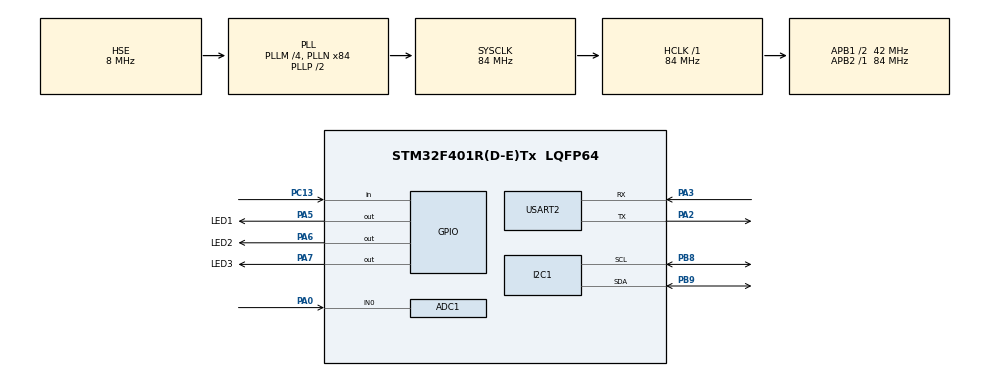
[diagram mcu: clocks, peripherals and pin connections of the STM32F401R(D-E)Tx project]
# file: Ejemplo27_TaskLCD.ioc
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ADC1.Channel-0\#ChannelRegularConversion=ADC_CHANNEL_0
ADC1.NbrOfConversionFlag=1
ADC1.Rank-0\#ChannelRegularConversion=1
ADC1.SamplingTime-0\#ChannelRegularConversion=ADC_SAMPLETIME_3CYCLES
ADC1.master=1
Mcu.Family=STM32F4
Mcu.Name=STM32F401R(D-E)Tx
Mcu.Package=LQFP64
NVIC.PriorityGroup=NVIC_PRIORITYGROUP_4
NVIC.TIM1_TRG_COM_TIM11_IRQn=true\:15\:0\:false\:false\:true\:false\:true\:true
NVIC.TimeBase=TIM1_TRG_COM_TIM11_IRQn
NVIC.TimeBaseIP=TIM11
NVIC.USART2_IRQn=true\:0\:0\:false\:false\:true\:true\:true\:true
PA0-WKUP.Signal=ADCx_IN0
PA2.Mode=Asynchronous
PA2.Signal=USART2_TX
PA3.Mode=Asynchronous
PA3.Signal=USART2_RX
PA5.GPIO_Label=LED1
PA5.Signal=GPIO_Output
PA6.GPIO_Label=LED2
PA6.Signal=GPIO_Output
PA7.GPIO_Label=LED3
PA7.Signal=GPIO_Output
PB8.Mode=I2C
PB8.Signal=I2C1_SCL
PB9.Mode=I2C
PB9.Signal=I2C1_SDA
PC13-ANTI_TAMP.Signal=GPIO_Input
PH0\ -\ OSC_IN.Mode=HSE-External-Clock-Source
PH0\ -\ OSC_IN.Signal=RCC_OSC_IN
PH1\ -\ OSC_OUT.Mode=HSE-External-Clock-Source
PH1\ -\ OSC_OUT.Signal=RCC_OSC_OUT
ProjectManager.HeapSize=0x200
ProjectManager.StackSize=0x400
ProjectManager.TargetToolchain=STM32CubeIDE
RCC.48MHZClocksFreq_Value=42000000
RCC.AHBFreq_Value=84000000
RCC.APB1CLKDivider=RCC_HCLK_DIV2
RCC.APB1Freq_Value=42000000
RCC.APB1TimFreq_Value=84000000
RCC.APB2Freq_Value=84000000
RCC.APB2TimFreq_Value=84000000
RCC.CortexFreq_Value=84000000
RCC.HCLKFreq_Value=84000000
RCC.HSE_VALUE=8000000
RCC.HSI_VALUE=16000000
RCC.LSE_VALUE=32768
RCC.PLLM=4
RCC.PLLN=84
RCC.PLLSourceVirtual=RCC_PLLSOURCE_HSE
RCC.SYSCLKFreq_VALUE=84000000
RCC.SYSCLKSource=RCC_SYSCLKSOURCE_PLLCLK
RCC.VCOOutputFreq_Value=168000000
SH.ADCx_IN0.0=ADC1_IN0,IN0
USART2.VirtualMode=VM_ASYNC
VP_SYS_VS_tim11.Mode=TIM11
board=custom

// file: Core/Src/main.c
/* USER CODE BEGIN Header */
/**
  ******************************************************************************
  * @file           : main.c
  * @brief          : Main program body
  ******************************************************************************
  * @attention
  *
  * Copyright (c) 2022 STMicroelectronics.
  * All rights reserved.
  *
  * This software is licensed under terms that can be found in the LICENSE file
  * in the root directory of this software component.
  * If no LICENSE file comes with this software, it is provided AS-IS.
  *
  ******************************************************************************
  */
/* USER CODE END Header */
#include "main.h"
#include "adc.h"
#include "i2c.h"
#include "usart.h"
#include "gpio.h"

/* USER CODE BEGIN Includes */
#include "FreeRTOS.h"
#include "task.h"

#include "LCD.h"

#include <stdio.h>
#include <stdarg.h>
#include <string.h>
#include "stdbool.h"
/* USER CODE END Includes */

/* USER CODE BEGIN PTD */
TaskHandle_t LCD;
TaskHandle_t ADC_READ;
void vTask_LCD(void *params);
void vTask_ADC_READ(void *params);
/* USER CODE END PTD */

/* USER CODE BEGIN PM */
/**
 * 0 : no se desea usar segger system view
 * 1 : se usa para la depuracion
 */
#define SYSTEM_VIEW				1
/* USER CODE END PM */

void SystemClock_Config(void);
/* USER CODE BEGIN PFP */

void UART_Printf(char *format,...);
/* USER CODE END PFP */

/* USER CODE BEGIN 0 */
uint16_t value = 0;
uint8_t str_value[50];
bool flag = false;
/* USER CODE END 0 */

int main(void)
{
  /* USER CODE BEGIN 1 */
	BaseType_t status;
  /* USER CODE END 1 */

  /* MCU Configuration--------------------------------------------------------*/

  /* Reset of all peripherals, Initializes the Flash interface and the Systick. */
  HAL_Init();

  /* Configure the system clock */
  SystemClock_Config();

  /* Initialize all configured peripherals */
  MX_GPIO_Init();
  MX_USART2_UART_Init();
  MX_ADC1_Init();
  MX_I2C1_Init();
  /* USER CODE BEGIN 2 */
#if SYSTEM_VIEW
  DWT->CTRL |= 1;
  SEGGER_SYSVIEW_Conf();
  /*solo se va usar cuando se trabaje en modo one shot*/
//  SEGGER_SYSVIEW_Start();

#endif

status = xTaskCreate(vTask_LCD,
						"lcd",
						configMINIMAL_STACK_SIZE,
						NULL,
						1,
						&LCD);

configASSERT(status == pdPASS);

status = xTaskCreate(vTask_ADC_READ,
						"adc_Read",
						configMINIMAL_STACK_SIZE,
						NULL,
						1,
						&ADC_READ);

configASSERT(status == pdPASS);

  /* inicializa el kernel*/
  vTaskStartScheduler();
  /* USER CODE END 2 */

  /* Infinite loop */
  while (1)
  {

  }
}

void SystemClock_Config(void)
{
  RCC_OscInitTypeDef RCC_OscInitStruct = {0};
  RCC_ClkInitTypeDef RCC_ClkInitStruct = {0};

  /** Configure the main internal regulator output voltage
  */
  __HAL_RCC_PWR_CLK_ENABLE();
  __HAL_PWR_VOLTAGESCALING_CONFIG(PWR_REGULATOR_VOLTAGE_SCALE2);

  /** Initializes the RCC Oscillators according to the specified parameters
  * in the RCC_OscInitTypeDef structure.
  */
  RCC_OscInitStruct.OscillatorType = RCC_OSCILLATORTYPE_HSE;
  RCC_OscInitStruct.HSEState = RCC_HSE_BYPASS;
  RCC_OscInitStruct.PLL.PLLState = RCC_PLL_ON;
  RCC_OscInitStruct.PLL.PLLSource = RCC_PLLSOURCE_HSE;
  RCC_OscInitStruct.PLL.PLLM = 4;
  RCC_OscInitStruct.PLL.PLLN = 84;
  RCC_OscInitStruct.PLL.PLLP = RCC_PLLP_DIV2;
  RCC_OscInitStruct.PLL.PLLQ = 4;
  if (HAL_RCC_OscConfig(&RCC_OscInitStruct) != HAL_OK)
  {
    Error_Handler();
  }

  /** Initializes the CPU, AHB and APB buses clocks
  */
  RCC_ClkInitStruct.ClockType = RCC_CLOCKTYPE_HCLK|RCC_CLOCKTYPE_SYSCLK
                              |RCC_CLOCKTYPE_PCLK1|RCC_CLOCKTYPE_PCLK2;
  RCC_ClkInitStruct.SYSCLKSource = RCC_SYSCLKSOURCE_PLLCLK;
  RCC_ClkInitStruct.AHBCLKDivider = RCC_SYSCLK_DIV1;
  RCC_ClkInitStruct.APB1CLKDivider = RCC_HCLK_DIV2;
  RCC_ClkInitStruct.APB2CLKDivider = RCC_HCLK_DIV1;

  if (HAL_RCC_ClockConfig(&RCC_ClkInitStruct, FLASH_LATENCY_2) != HAL_OK)
  {
    Error_Handler();
  }
}

/* USER CODE BEGIN 4 */

void vTask_LCD(void *params){

	LCD_STM32_INIT();
	LCD_STM32_SET_CURSOR(0, 0);
	LCD_STM32_PRINT_STRING("FreeRTOS LCD");
	for(;;){

		if (flag == true ) {
			sprintf(str_value,"ADC->%04u",value);
			LCD_STM32_SET_CURSOR(0, 1);
			LCD_STM32_PRINT_STRING(str_value);
			flag = false;
			vTaskDelay(pdMS_TO_TICKS(200));
			SEGGER_SYSVIEW_PrintfHost("Ejecucion lcd");
		}

	}

	vTaskDelete(NULL);
}

void vTask_ADC_READ(void *params){

	for(;;){
		HAL_ADC_Start(&hadc1);
		//HAL_ADC_PollForConversion(hadc, Timeout)
		vTaskDelay(pdMS_TO_TICKS(1));
		value = HAL_ADC_GetValue(&hadc1);
		//HAL_ADC_Stop(&hadc1);
		flag = true;
		vTaskDelay(pdMS_TO_TICKS(200));
		SEGGER_SYSVIEW_PrintfHost("Ejecucion ADC");
	}

	vTaskDelete(NULL);

}

BaseType_t cuenta;
void vApplicationIdleHook(void){
cuenta++;
UART_Printf("Cuenta del HOOK->%d\n\r",cuenta);
//__WFI();
//__WFE();
return;
}

void vApplicationTickHook(void){

return;
}
void UART_Printf(char *format,...){
    char str[80];

    /*Extract the the argument list using VA apis */
    va_list args;
    va_start(args, format);
    vsprintf(str, format,args);
    HAL_UART_Transmit(&huart2, (uint8_t*)str, strlen(str), 10);
    va_end(args);
}
/* USER CODE END 4 */

void HAL_TIM_PeriodElapsedCallback(TIM_HandleTypeDef *htim)
{
  if (htim->Instance == TIM11) {
    HAL_IncTick();
  }
}

void Error_Handler(void)
{
  __disable_irq();
  while (1)
  {
  }
}
